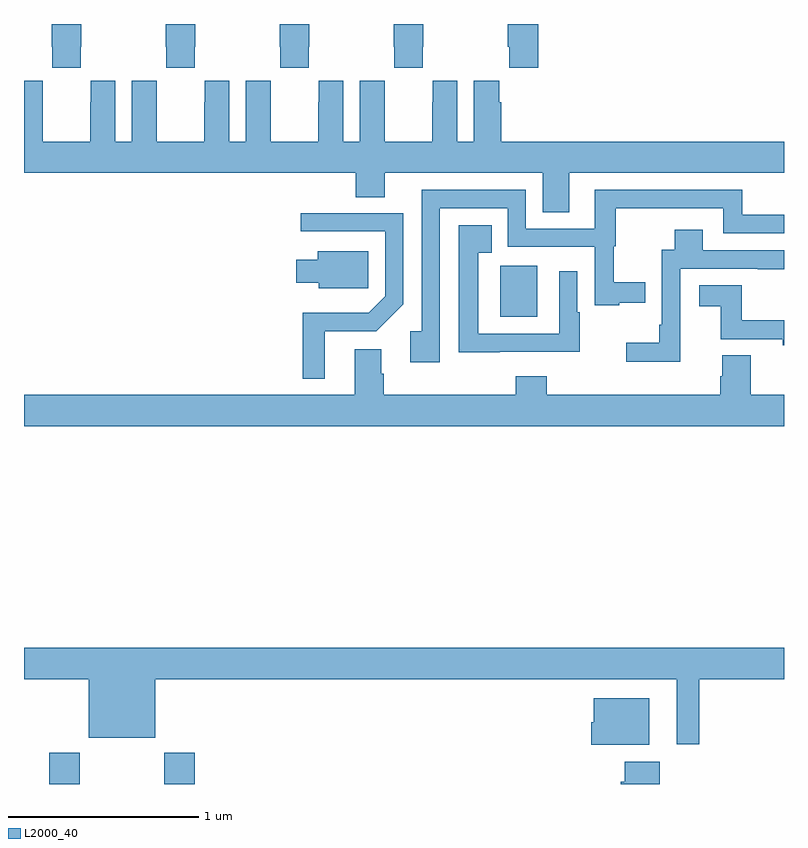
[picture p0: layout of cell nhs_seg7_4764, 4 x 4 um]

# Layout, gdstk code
import gdstk
lib = gdstk.Library(unit=1e-6, precision=1e-09)
def R(c, l, rs):  # rectangles x0, y0, x1, y1
    for r in rs: c.add(gdstk.rectangle(r[:2], r[2:], *l))
def P(c, l, *ps):  # polygons
    for p in ps: c.add(gdstk.Polygon(p, *l))
L2000_40 = (2000, 40)

nhs_seg7_4764 = lib.new_cell('nhs_seg7_4764')
R(nhs_seg7_4764, L2000_40, [(409.133,1064,409.293,1064.164), (409.738,1064,409.898,1064.164), (411.506,1066.46,411.7,1066.728)])
P(nhs_seg7_4764, L2000_40, [(411.099,1067.881),(411.102,1067.881),(411.102,1068),(410.947,1068),(410.947,1067.881),(410.949,1067.881),(410.949,1067.769),(411.099,1067.769)],
  [(410.499,1067.881),(410.502,1067.881),(410.502,1068),(410.347,1068),(410.347,1067.881),(410.349,1067.881),(410.349,1067.769),(410.499,1067.769)],
  [(409.899,1067.881),(409.902,1067.881),(409.902,1068),(409.747,1068),(409.747,1067.881),(409.749,1067.881),(409.749,1067.769),(409.899,1067.769)],
  [(409.299,1067.881),(409.302,1067.881),(409.302,1068),(409.147,1068),(409.147,1067.881),(409.149,1067.881),(409.149,1067.769),(409.299,1067.769)],
  [(411.707,1068),(411.547,1068),(411.547,1067.881),(411.553,1067.881),(411.553,1067.769),(411.707,1067.769)],
  [(411.871,1067.216),(413,1067.216),(413,1067.38),(411.512,1067.38),(411.512,1067.588),(411.502,1067.588),(411.502,1067.701),(411.368,1067.701),(411.368,1067.38),(411.28,1067.38),(411.28,1067.701),(411.15,1067.701),(411.15,1067.588),(411.149,1067.588),(411.149,1067.38),(410.899,1067.38),(410.899,1067.588),(410.898,1067.588),(410.898,1067.701),(410.768,1067.701),(410.768,1067.38),(410.68,1067.38),(410.68,1067.701),(410.55,1067.701),(410.55,1067.588),(410.549,1067.588),(410.549,1067.38),(410.299,1067.38),(410.299,1067.588),(410.298,1067.588),(410.298,1067.701),(410.168,1067.701),(410.168,1067.38),(410.08,1067.38),(410.08,1067.701),(409.95,1067.701),(409.95,1067.588),(409.949,1067.588),(409.949,1067.38),(409.699,1067.38),(409.699,1067.588),(409.698,1067.588),(409.698,1067.701),(409.568,1067.701),(409.568,1067.38),(409.48,1067.38),(409.48,1067.701),(409.35,1067.701),(409.35,1067.588),(409.349,1067.588),(409.349,1067.38),(409.099,1067.38),(409.099,1067.588),(409.098,1067.588),(409.098,1067.701),(409,1067.701),(409,1067.216),(410.747,1067.216),(410.747,1067.089),(410.899,1067.089),(410.899,1067.216),(411.731,1067.216),(411.731,1067.008),(411.871,1067.008)],
  [(411.189,1067.031),(411.546,1067.031),(411.546,1066.827),(412.005,1066.827),(412.005,1066.521),(412.133,1066.521),(412.133,1066.532),(412.27,1066.532),(412.27,1066.642),(412.104,1066.642),(412.104,1066.83),(412.114,1066.83),(412.114,1067.029),(412.337,1067.029),(412.337,1067.031),(412.68,1067.031),(412.68,1066.899),(413,1066.899),(413,1066.995),(412.779,1066.995),(412.779,1067.127),(412.004,1067.127),(412.004,1066.923),(411.642,1066.923),(411.642,1067.127),(411.093,1067.127),(411.093,1066.382),(411.033,1066.382),(411.033,1066.221),(411.189,1066.221)],
  [(410.584,1066.383),(410.854,1066.383),(410.997,1066.526),(410.997,1067.004),(410.457,1067.004),(410.457,1066.908),(410.901,1066.908),(410.901,1066.566),(410.815,1066.48),(410.467,1066.48),(410.467,1066.134),(410.584,1066.134)],
  [(411.503,1066.275),(411.925,1066.275),(411.925,1066.482),(411.912,1066.482),(411.912,1066.699),(411.816,1066.699),(411.816,1066.371),(411.391,1066.371),(411.391,1066.796),(411.461,1066.796),(411.461,1066.942),(411.287,1066.942),(411.287,1066.273),(411.503,1066.273)],
  [(412.454,1066.713),(412.861,1066.713),(412.861,1066.708),(413,1066.708),(413,1066.809),(412.573,1066.809),(412.573,1066.918),(412.426,1066.918),(412.426,1066.812),(412.356,1066.812),(412.356,1066.417),(412.344,1066.417),(412.344,1066.322),(412.17,1066.322),(412.17,1066.223),(412.454,1066.223)],
  [(410.811,1066.804),(410.546,1066.804),(410.546,1066.759),(410.432,1066.759),(410.432,1066.637),(410.55,1066.637),(410.55,1066.61),(410.811,1066.61)],
  [(413,1066.442),(412.777,1066.442),(412.777,1066.624),(412.554,1066.624),(412.554,1066.514),(412.667,1066.514),(412.667,1066.341),(412.994,1066.341),(412.994,1066.31),(413,1066.31)],
  [(413,1066.048),(412.824,1066.048),(412.824,1066.256),(412.676,1066.256),(412.676,1066.146),(412.664,1066.146),(412.664,1066.048),(411.752,1066.048),(411.752,1066.147),(411.587,1066.147),(411.587,1066.048),(410.894,1066.048),(410.894,1066.16),(410.881,1066.16),(410.881,1066.288),(410.741,1066.288),(410.741,1066.048),(409,1066.048),(409,1065.884),(413,1065.884)],
  [(412.553,1064.552),(413,1064.552),(413,1064.716),(409,1064.716),(409,1064.552),(409.34,1064.552),(409.34,1064.243),(409.69,1064.243),(409.69,1064.552),(412.436,1064.552),(412.436,1064.208),(412.553,1064.208)],
  [(412.291,1064.452),(411.998,1064.452),(411.998,1064.325),(411.986,1064.325),(411.986,1064.207),(412.291,1064.207)],
  [(412.345,1064.116),(412.161,1064.116),(412.161,1064.012),(412.141,1064.012),(412.141,1064),(412.345,1064)])

lib.write_gds('nhs_seg7_4764.gds')
